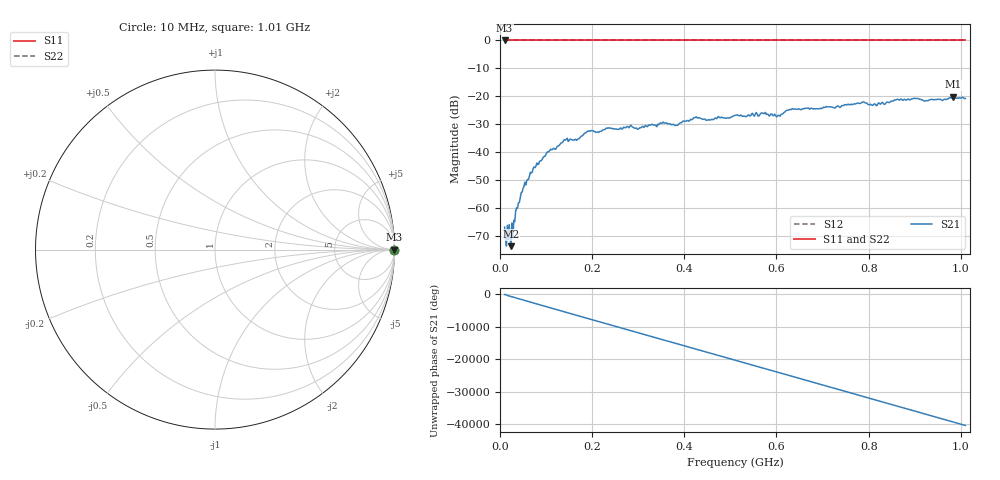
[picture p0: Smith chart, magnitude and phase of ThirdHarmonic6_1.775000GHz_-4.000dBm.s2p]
! 8/16/2025 9:26:43 PM
! C:\ANRITSUVNA\TEMP\TEMP.S2P
! CHANNEL.1
! TR.MEASUREMENT
! RAW.DATA
! RF.CORRECTION.OFF
! AVERAGING.OFF
! IF.BANDWIDTH: 5KHZ
! SWEEPTYPE:  FREQ.SWEEP(Linear)
! Reference Plane Port Info
! PORT:  PORT1  PORT2
! DISTANCE:  0  m  0  m
! TIME:  0  s  0  s
! PHASE.OFFSET:  0  deg.  0  deg.
! LOSS:  0  dB  0  dB
! REF.LOSS:  0  dB  0  dB
! REF.FREQ:  0  Hz  0  Hz
! Power Info
! POWER:  -20  dBm  -20  dBm
! EFF.POWER:  -20  dBm  -20  dBm
! SOURCE.ATTEN:  0  dB  0  dB
! TEST.ATTEN:  0  dB  0  dB
# GHZ S RI R 50.0
! FREQ.GHZ  S11RE  S11IM  S21RE  S21IM  S12RE  S12IM  S22RE  S22IM
!; PortSelection: Port_12
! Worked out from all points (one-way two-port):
!   501 points, 10 MHz to 1.01 GHz, reference 50 ohm
!   highest |S21| = -20.16 dB at 984 MHz (marker M1); lowest = -73.6 dB at 24 MHz (marker M2)
!   lowest |S11| = 0.0 dB at 10 MHz (marker M3)
!   |S11| at or under -10 dB: nowhere
!   |S22| runs from 0.0 to 0.0 dB; largest |S21 - S12| = 1.1
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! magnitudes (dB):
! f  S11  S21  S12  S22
! 10 MHz  0.0  -66.8  0.0  0.0
! 24 MHz  0.0  -73.6  0.0  0.0
! 28 MHz  0.0  -70.5  0.0  0.0
! 38 MHz  0.0  -60.0  0.0  0.0
! 50 MHz  0.0  -52.9  0.0  0.0
! 76 MHz  0.0  -45.5  0.0  0.0
! 106 MHz  0.0  -39.8  0.0  0.0
! 142 MHz  0.0  -35.7  0.0  0.0
! 178 MHz  0.0  -34.2  0.0  0.0
! 234 MHz  0.0  -31.4  0.0  0.0
! 344 MHz  0.0  -30.2  0.0  0.0
! 382 MHz  0.0  -30.4  0.0  0.0
! 424 MHz  0.0  -27.6  0.0  0.0
! 452 MHz  0.0  -28.4  0.0  0.0
! 510 MHz  0.0  -26.8  0.0  0.0
! 572 MHz  0.0  -26.2  0.0  0.0
! 604 MHz  0.0  -26.8  0.0  0.0
! 632 MHz  0.0  -24.8  0.0  0.0
! 678 MHz  0.0  -24.5  0.0  0.0
! 844 MHz  0.0  -22.2  0.0  0.0
! 984 MHz  0.0  -20.2  0.0  0.0
! 1.01 GHz  0.0  -20.8  0.0  0.0
